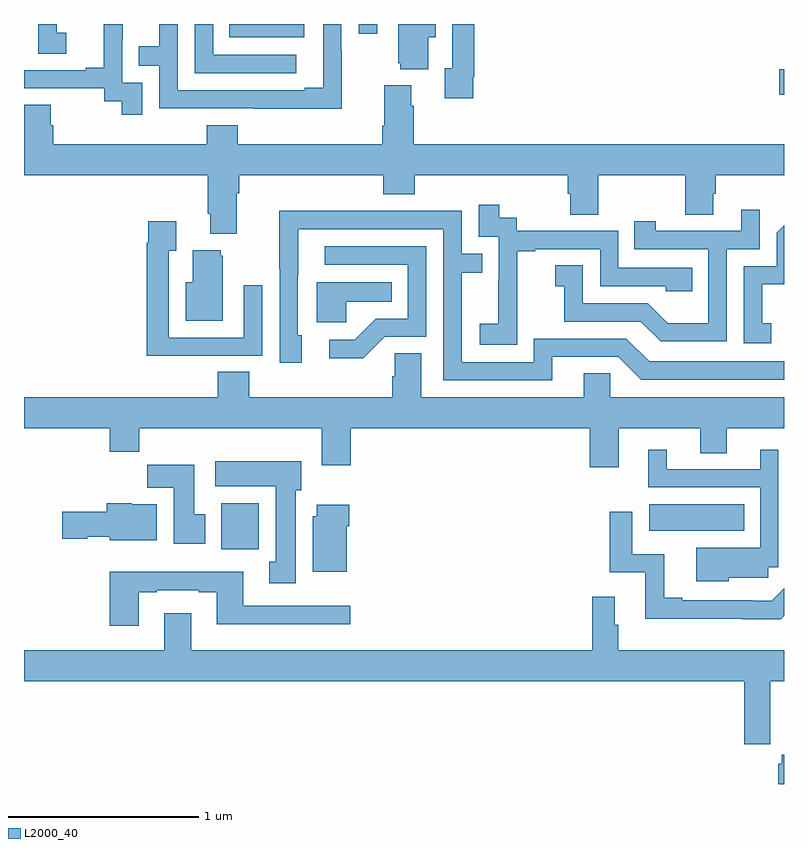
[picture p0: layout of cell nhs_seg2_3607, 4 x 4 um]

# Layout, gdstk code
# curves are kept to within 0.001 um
import gdstk
lib = gdstk.Library(unit=1e-6, precision=1e-09)
def R(c, l, rs):  # rectangles x0, y0, x1, y1
    for r in rs: c.add(gdstk.rectangle(r[:2], r[2:], *l))
def P(c, l, *ps):  # polygons
    for p in ps: c.add(gdstk.Polygon(p, *l))
L2000_40 = (2000, 40)

nhs_seg2_3607 = lib.new_cell('nhs_seg2_3607')
R(nhs_seg2_3607, L2000_40, [(302.039,611.036,302.236,611.278), (304.29,611.132,304.79,611.272), (304.974,613.427,305,613.562), (302.08,613.73,302.476,613.8), (302.763,613.749,302.859,613.8)])
P(nhs_seg2_3607, L2000_40, [(302.434,613.638),(301.995,613.638),(301.995,613.8),(301.899,613.8),(301.899,613.542),(302.434,613.542)],
  [(302.673,613.661),(302.67,613.661),(302.67,613.8),(302.574,613.8),(302.574,613.465),(302.477,613.465),(302.477,613.452),(301.809,613.452),(301.809,613.8),(301.713,613.8),(301.713,613.682),(301.603,613.682),(301.603,613.581),(301.713,613.581),(301.713,613.356),(302.209,613.356),(302.209,613.355),(302.673,613.355)],
  [(301.222,613.753),(301.173,613.753),(301.173,613.8),(301.074,613.8),(301.074,613.644),(301.222,613.644)],
  [(301.623,613.491),(301.518,613.491),(301.518,613.721),(301.52,613.721),(301.52,613.8),(301.421,613.8),(301.421,613.57),(301.325,613.57),(301.325,613.557),(301,613.557),(301,613.461),(301.422,613.461),(301.422,613.393),(301.515,613.393),(301.515,613.323),(301.623,613.323)],
  [(303.127,613.73),(303.166,613.73),(303.166,613.8),(302.969,613.8),(302.969,613.593),(302.981,613.593),(302.981,613.562),(303.127,613.562)],
  [(303.364,613.522),(303.371,613.522),(303.371,613.8),(303.255,613.8),(303.255,613.566),(303.215,613.566),(303.215,613.41),(303.364,613.41)],
  [(303.037,613.37),(303.037,613.477),(302.897,613.477),(302.897,613.264),(302.885,613.264),(302.885,613.168),(302.126,613.168),(302.126,613.267),(301.961,613.267),(301.961,613.168),(301.154,613.168),(301.154,613.266),(301.141,613.266),(301.141,613.376),(301,613.376),(301,613.004),(301.967,613.004),(301.967,612.802),(301.979,612.802),(301.979,612.695),(302.119,612.695),(302.119,612.908),(302.132,612.908),(302.132,613.004),(302.891,613.004),(302.891,612.905),(303.056,612.905),(303.056,613.004),(303.863,613.004),(303.863,612.906),(303.875,612.906),(303.875,612.796),(304.023,612.796),(304.023,613.004),(304.48,613.004),(304.48,612.796),(304.627,612.796),(304.627,612.906),(304.64,612.906),(304.64,613.004),(305,613.004),(305,613.168),(303.05,613.168),(303.05,613.37)],
  [(303.597,612.319),(303.596,612.319),(303.596,612.603),(303.691,612.603),(303.691,612.615),(304.032,612.615),(304.032,612.42),(304.377,612.42),(304.377,612.393),(304.517,612.393),(304.517,612.516),(304.128,612.516),(304.128,612.711),(303.594,612.711),(303.594,612.78),(303.502,612.78),(303.502,612.85),(303.393,612.85),(303.393,612.681),(303.498,612.681),(303.498,612.452),(303.497,612.452),(303.497,612.223),(303.399,612.223),(303.399,612.113),(303.597,612.113)],
  [(304.698,612.615),(304.872,612.615),(304.872,612.823),(304.775,612.823),(304.775,612.711),(304.324,612.711),(304.324,612.763),(304.213,612.763),(304.213,612.615),(304.602,612.615),(304.602,612.226),(304.388,612.226),(304.284,612.33),(303.942,612.33),(303.942,612.529),(303.795,612.529),(303.795,612.419),(303.844,612.419),(303.844,612.234),(304.247,612.234),(304.352,612.129),(304.698,612.129)],
  [(303.781,612.048),(304.128,612.048),(304.248,611.928),(305,611.928),(305,612.024),(304.29,612.024),(304.17,612.144),(303.684,612.144),(303.684,612.021),(303.303,612.021),(303.303,612.49),(303.413,612.49),(303.413,612.591),(303.303,612.591),(303.303,612.816),(302.807,612.816),(302.807,612.818),(302.344,612.818),(302.344,612.511),(302.346,612.511),(302.346,612.018),(302.461,612.018),(302.461,612.162),(302.442,612.162),(302.443,612.72),(303.207,612.72),(303.207,611.925),(303.781,611.925)],
  [(301.937,612.054),(302.253,612.054),(302.253,612.424),(302.157,612.424),(302.157,612.15),(301.761,612.15),(301.761,612.607),(301.801,612.607),(301.801,612.763),(301.653,612.763),(301.653,612.65),(301.645,612.65),(301.645,612.053),(301.937,612.053)],
  [(304.934,612.225),(304.885,612.225),(304.885,612.429),(305,612.429),(305,612.74),(304.962,612.702),(304.962,612.525),(304.788,612.525),(304.788,612.12),(304.934,612.12)],
  [(302.898,612.153),(303.117,612.153),(303.117,612.63),(302.583,612.63),(302.583,612.534),(303.021,612.534),(303.021,612.249),(302.852,612.249),(302.741,612.138),(302.607,612.138),(302.607,612.041),(302.785,612.041)],
  [(302.047,612.579),(302.036,612.579),(302.036,612.61),(301.889,612.61),(301.889,612.442),(301.85,612.442),(301.85,612.239),(302.047,612.239)],
  [(302.697,612.338),(302.936,612.338),(302.936,612.442),(302.54,612.442),(302.54,612.23),(302.697,612.23)],
  [(304.129,611.672),(304.559,611.672),(304.559,611.542),(304.699,611.542),(304.699,611.672),(305,611.672),(305,611.836),(304.086,611.836),(304.086,611.963),(303.947,611.963),(303.947,611.836),(303.091,611.836),(303.091,612.068),(302.952,612.068),(302.952,611.945),(302.939,611.945),(302.939,611.836),(302.186,611.836),(302.186,611.969),(302.021,611.969),(302.021,611.836),(301,611.836),(301,611.672),(301.451,611.672),(301.451,611.548),(301.607,611.548),(301.607,611.672),(302.567,611.672),(302.567,611.478),(302.72,611.478),(302.72,611.672),(303.977,611.672),(303.977,611.466),(304.129,611.466)],
  [(304.71,610.886),(304.917,610.886),(304.917,610.941),(304.971,610.941),(304.971,611.56),(304.874,611.56),(304.874,611.457),(304.384,611.457),(304.384,611.56),(304.286,611.56),(304.286,611.361),(304.875,611.361),(304.875,611.044),(304.538,611.044),(304.538,610.868),(304.71,610.868)],
  [(302.431,611.346),(302.458,611.346),(302.458,611.5),(302.007,611.5),(302.007,611.366),(302.324,611.366),(302.324,610.97),(302.291,610.97),(302.291,610.857),(302.431,610.857)],
  [(301.954,611.22),(301.897,611.22),(301.897,611.479),(301.648,611.479),(301.648,611.36),(301.787,611.36),(301.787,611.064),(301.954,611.064)],
  [(301.699,611.272),(301.566,611.272),(301.566,611.278),(301.436,611.278),(301.436,611.232),(301.2,611.232),(301.2,611.09),(301.332,611.09),(301.332,611.102),(301.452,611.102),(301.452,611.084),(301.699,611.084)],
  [(302.698,611.156),(302.711,611.156),(302.711,611.269),(302.54,611.269),(302.54,611.208),(302.519,611.208),(302.519,610.916),(302.698,610.916)],
  [(305,610.686),(305,610.829),(304.936,610.765),(304.835,610.765),(304.835,610.767),(304.465,610.767),(304.465,610.78),(304.369,610.78),(304.369,611.01),(304.2,611.01),(304.2,611.233),(304.084,611.233),(304.084,610.914),(304.271,610.914),(304.271,610.67),(304.783,610.67),(304.783,610.668),(304.982,610.668)],
  [(301.603,610.809),(301.699,610.809),(301.699,610.821),(301.919,610.821),(301.919,610.809),(302.015,610.809),(302.015,610.64),(302.716,610.64),(302.716,610.737),(302.155,610.737),(302.155,610.918),(301.451,610.918),(301.451,610.632),(301.603,610.632)],
  [(304.928,610.34),(305,610.34),(305,610.504),(304.127,610.504),(304.127,610.637),(304.108,610.637),(304.108,610.786),(303.991,610.786),(303.991,610.504),(301.879,610.504),(301.879,610.699),(301.739,610.699),(301.739,610.504),(301,610.504),(301,610.34),(304.792,610.34),(304.792,610.008),(304.928,610.008)],
  [(305,609.953),(304.988,609.953),(304.988,609.906),(304.97,609.906),(304.97,609.8),(305,609.8)])

lib.write_gds('nhs_seg2_3607.gds')
